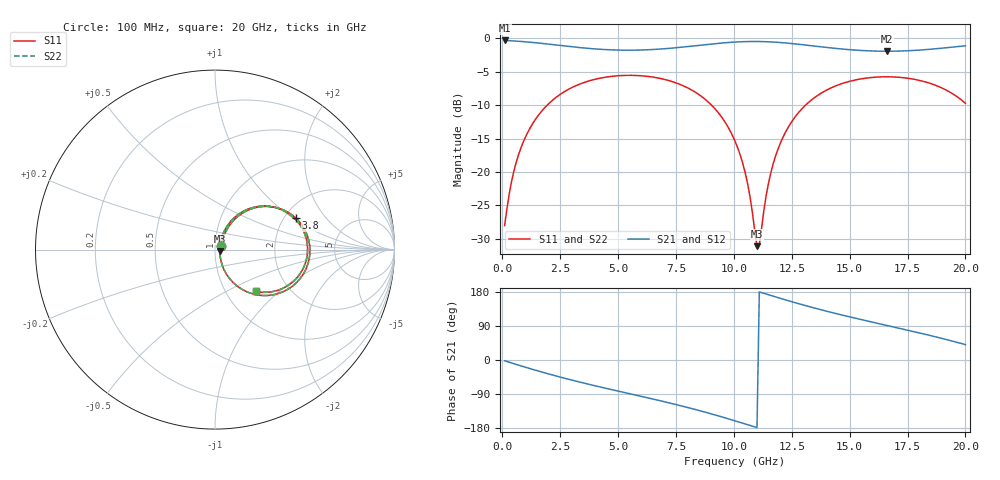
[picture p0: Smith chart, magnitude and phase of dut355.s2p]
! Touchstone file exported from HFSS 2026.1.0
!  File:  C:/ffzhzh/LocalFiles/Ansys_Project_Files/temp_train_TSV_RDL_355_1783037604_4048.aedt
!  Generated:  08:38:46 AM Jul  3, 2026
!  Design:  TSV_RDL
!  Project:  temp_train_TSV_RDL_355_1783037604_4048
! Variables:
!  h_bsmrdl = 4.93um
!  h_ox = 20um
!  h_rdl = 5um
!  h_sub = 76.06um
!  h_tmrdl = 2.1um
!  h_tsv = 76.06um
!  h_via = 3um
!  l_bsmrdl = 372.12um
!  l_sub = 5525.63um
!  l_tmrdl = 967.21um
!  m_sub = 200um
!  pitch = 47.8um
!  r_tsv = 3.52um
!  s_tmrdl = 10um
!  w_bsmrdl = 21.68um
!  w_sub = 500um
!  w_tmrdl = 25.13um
!  x_tsv_center1 = 979.775um
!  x_tsv_center2 = 1373.575um
!  x_tsv_center3 = 2365.915um
!  x_tsv_center4 = 2759.715um
!  x_tsv_center5 = 3752.055um
!  x_tsv_center6 = 4145.855um
# GHz S MA R 50.000000
! Terminal data exported
! Port[1] = TM_RDL1_1_T1
! Port[2] = TM_RDL5_1_T1
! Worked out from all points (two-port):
!   200 points, 100 MHz to 20 GHz, reference 50 ohm
!   highest |S21| = -0.30 dB at 100 MHz (marker M1); lowest = -1.9 dB at 16.6 GHz (marker M2)
!   |S21| within 3 dB of the highest: start of sweep to end of sweep
!   lowest |S11| = -31.1 dB at 11 GHz (marker M3), VSWR 1.06, Z = 52.7 - j0.795 ohm
!   |S11| at or under -10 dB: start of sweep to 1.939 GHz; 9.037 GHz to 13.1 GHz (4.059 GHz wide, 36.7 % of centre)
!   |S22| runs from -31.1 to -5.5 dB; largest |S21 - S12| = 1.5e-14
!   S11 on the Smith chart (normalised r, x): 100 MHz: 1.07, +0.04; 3.8 GHz: 2.31, +1.05; 20 GHz: 1.38, -0.72
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0.1  0.0396 28.2  0.9656 -2.0  0.9656 -2.0  0.0396 28.2
! Gamma 0 0 0 0
! Port Impedance 50 0 50 0
0.5  0.1013 58.1  0.9574 -9.8  0.9574 -9.8  0.1013 58.1
1.2  0.2132 56.2  0.9368 -22.8  0.9368 -22.8  0.2132 56.2
2.2  0.3479 43.4  0.898 -40.1  0.898 -40.1  0.3479 43.4
3.5  0.4656 25.3  0.8487 -60.6  0.8487 -60.6  0.4656 25.3
3.8  0.4837 21.2  0.8397 -65.0  0.8397 -65.0  0.4837 21.2
5.3  0.5285 1.4  0.8163 -86.2  0.8163 -86.2  0.5285 1.4
6.8  0.5024 -18.4  0.832 -107.2  0.832 -107.2  0.5024 -18.4
8.8  0.3453 -47.0  0.8994 -138.3  0.8994 -138.3  0.3452 -46.9
10.1  0.1621 -64.4  0.9405 -161.5  0.9405 -161.5  0.1621 -64.3
10.6  0.08086 -63.7  0.9477 -170.9  0.9477 -170.9  0.08088 -63.5
11  0.02777 -15.7  0.9486 -178.4  0.9486 -178.4  0.02794 -15.5
11.1  0.02856 18.1  0.9481 179.7  0.9481 179.7  0.02875 18.1
11.5  0.08288 61.6  0.9434 172.1  0.9434 172.1  0.08297 61.5
11.9  0.1471 62.8  0.9347 164.7  0.9347 164.7  0.1471 62.7
12.5  0.2377 56.3  0.9156 153.8  0.9156 153.8  0.2378 56.2
13.4  0.3512 43.5  0.8799 138.4  0.8799 138.4  0.3512 43.5
14.8  0.4664 23.8  0.8289 116.8  0.8289 116.8  0.4665 23.8
16.6  0.516 0.1  0.8016 91.4  0.8016 91.4  0.516 0.1
16.7  0.5158 -1.2  0.8017 90.0  0.8017 90.0  0.5158 -1.1
18.5  0.4594 -24.8  0.83 64.4  0.83 64.4  0.4594 -24.8
20  0.3266 -45.5  0.8805 40.6  0.8805 40.6  0.3265 -45.5
